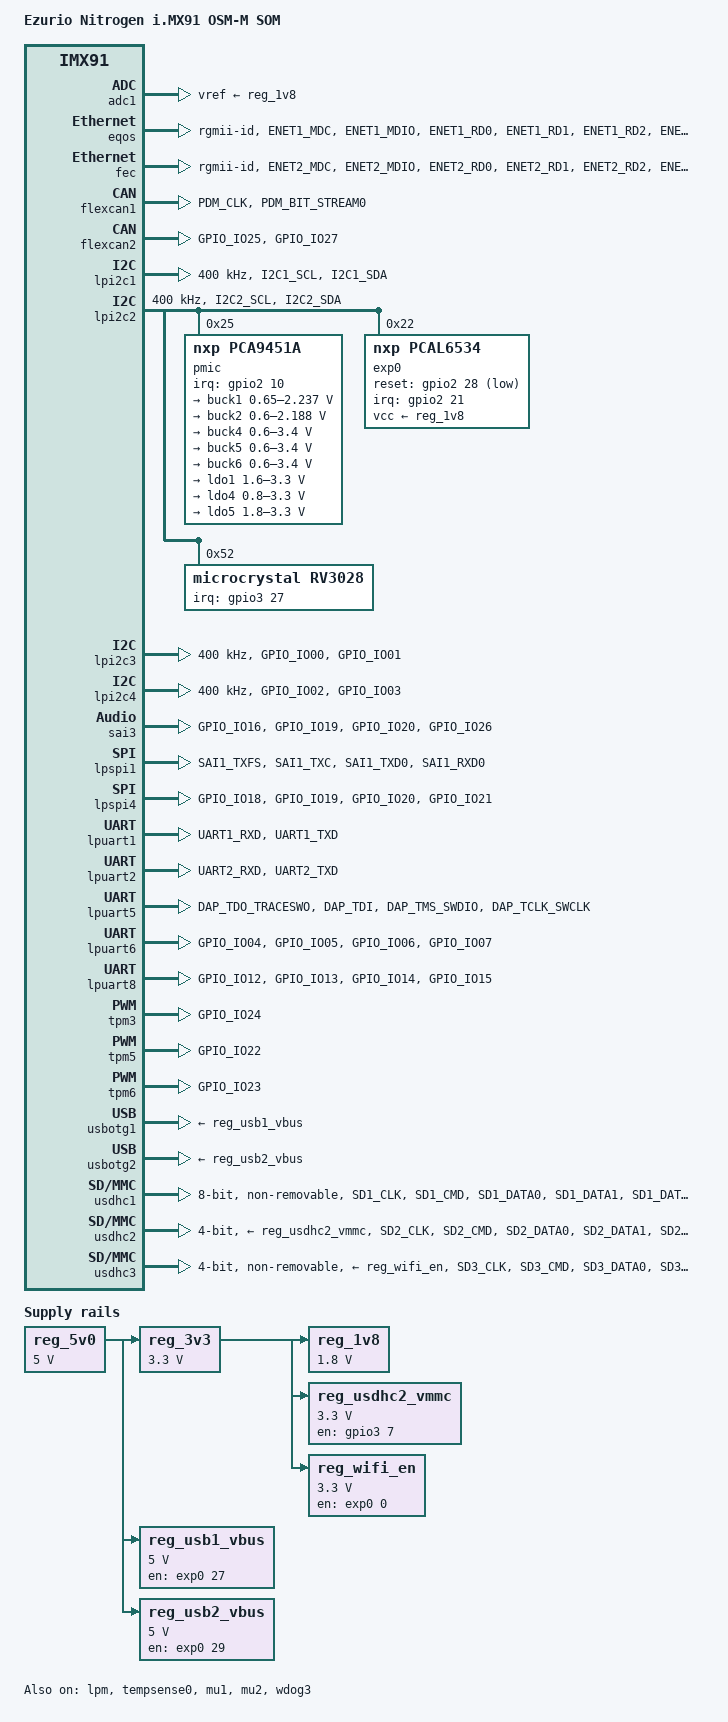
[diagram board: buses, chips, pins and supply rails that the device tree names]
// SPDX-License-Identifier: (GPL-2.0-or-later OR MIT)
/*
 * Nitrogen91 OSM-M SOM (Ezurio 750-00473 / 940-00189)
 *
 * Copyright 2026 Ezurio LLC
 *
 */

/dts-v1/;

#include <dt-bindings/gpio/gpio.h>
#include <dt-bindings/input/input.h>
#include <dt-bindings/interrupt-controller/irq.h>
#include <dt-bindings/leds/common.h>
#include <dt-bindings/usb/pd.h>

#include "imx91.dtsi"

/ {
	compatible = "summit,nitrogen-imx91-osm-m", "fsl,imx91";
	model = "Ezurio Nitrogen i.MX91 OSM-M SOM";

	aliases {
		mmc0 = &usdhc1;			/* eMMC */
		mmc1 = &usdhc2;			/* SDIO_A */
		mmc2 = &usdhc3;			/* On-SOM Wi-Fi */
		serial0 = &lpuart1;		/* UART_CON */
		serial1 = &lpuart2;		/* UART_C */
		serial2 = &lpuart5;		/* On-SOM BT HCI */
		serial3 = &lpuart6;		/* UART_A */
		serial4 = &lpuart8;		/* UART_B */
		ethernet0 = &eqos;		/* ETH_A */
		ethernet1 = &fec;		/* ETH_B */
		i2c0 = &lpi2c1;			/* I2C_A */
		i2c1 = &lpi2c2;			/* I2C_B (PMIC/RTC/GPIO-expander) */
		i2c2 = &lpi2c3;			/* I2C_C */
		i2c3 = &lpi2c4;			/* I2C_D (CSI) */
		spi0 = &lpspi1;			/* SPI_A */
		spi1 = &lpspi4;			/* SPI_B */
		can0 = &flexcan1;		/* CAN_A */
		can1 = &flexcan2;		/* CAN_B */
		usb0 = &usbotg1;		/* USB_A */
		usb1 = &usbotg2;		/* USB_B */
		gpio0 = &gpio1;
		gpio1 = &gpio2;
		gpio2 = &gpio3;
		gpio3 = &gpio4;
		gpio4 = &exp0;
		rtc0 = &rv3028;
		rtc1 = &bbnsm_rtc;
	};

	chosen {
		stdout-path = "serial0:115200n8";
	};

	reserved-memory {
		#address-cells = <2>;
		#size-cells = <2>;
		ranges;

		/* global cma region */
		linux_cma: linux,cma {
			compatible = "shared-dma-pool";
			reusable;
			alloc-ranges = <0 0x80000000 0 0x40000000>;
			size = <0 0x10000000>;
			linux,cma-default;
		};

		ele_reserved: ele-reserved@a4120000 {
			compatible = "shared-dma-pool";
			reg = <0 0xa4120000 0 0x100000>;
			no-map;
		};
	};

	reg_5v0: regulator-5v0 {
		compatible = "regulator-fixed";
		regulator-name = "reg_5v0";

		regulator-min-microvolt = <5000000>;
		regulator-max-microvolt = <5000000>;

		regulator-always-on;
		regulator-boot-on;
	};

	reg_3v3: regulator-3v3 {
		compatible = "regulator-fixed";
		regulator-name = "reg_3v3";

		vin-supply = <&reg_5v0>;
		regulator-min-microvolt = <3300000>;
		regulator-max-microvolt = <3300000>;

		regulator-always-on;
		regulator-boot-on;
	};

	reg_1v8: regulator-1v8 {
		compatible = "regulator-fixed";
		regulator-name = "reg_1v8";

		vin-supply = <&reg_3v3>;
		regulator-min-microvolt = <1800000>;
		regulator-max-microvolt = <1800000>;

		regulator-always-on;
		regulator-boot-on;
	};

	reg_usdhc2_vmmc: regulator-usdhc2-vmmc {
		compatible = "regulator-fixed";
		regulator-name = "reg_usdhc2_vmmc";
		regulator-min-microvolt = <3300000>;
		regulator-max-microvolt = <3300000>;
		vin-supply = <&reg_3v3>;

		pinctrl-names = "default";
		pinctrl-0 = <&pinctrl_reg_usdhc2_vmmc>;
		gpio = <&gpio3 7 GPIO_ACTIVE_HIGH>;	/* SD2_RESET_B -> SDIO_A_VMMC_EN */
		enable-active-high;

		off-on-delay-us = <12000>;
	};

	reg_usb1_vbus: regulator-usb1-vbus {
		compatible = "regulator-fixed";
		regulator-name = "reg_usb1_vbus";
		regulator-min-microvolt = <5000000>;
		regulator-max-microvolt = <5000000>;
		vin-supply = <&reg_5v0>;

		gpio = <&exp0 27 GPIO_ACTIVE_HIGH>;	/* USB_A_EN */
		enable-active-high;
	};

	reg_usb2_vbus: regulator-usb2-vbus {
		compatible = "regulator-fixed";
		regulator-name = "reg_usb2_vbus";
		regulator-min-microvolt = <5000000>;
		regulator-max-microvolt = <5000000>;
		vin-supply = <&reg_5v0>;

		gpio = <&exp0 29 GPIO_ACTIVE_HIGH>;	/* USB_B_EN */
		enable-active-high;
	};

	reg_wifi_en: regulator-wifi-en {
		compatible = "regulator-fixed";
		regulator-name = "reg_wifi_en";

		vin-supply = <&reg_3v3>;
		regulator-min-microvolt = <3300000>;
		regulator-max-microvolt = <3300000>;

		gpio = <&exp0 0 GPIO_ACTIVE_HIGH>;	/* WL_EN */
		enable-active-high;
	};

	wifi_wakeup: wifi-wakeup {
		compatible = "gpio-keys";

		status = "disabled";

		pinctrl-names = "default";
		pinctrl-0 = <&pinctrl_wifi_wakeup>;

		wifi-wake {
			label = "Wi-Fi Wake Up";
			linux,code = <KEY_WAKEUP>;
			wakeup-source;

			interrupts-extended = <&gpio2 9 IRQ_TYPE_EDGE_FALLING>;	/* GPIO_IO09 -> WIFI_SDIO_WAKE */
			interrupt-names = "irq";
		};

		bt-wake {
			label = "BT Wake Up";
			linux,code = <KEY_WAKEUP>;
			wakeup-source;

			interrupts-extended = <&gpio2 8 IRQ_TYPE_EDGE_FALLING>;	/* GPIO_IO08 -> BT_HOST_WAKE */
			interrupt-names = "irq";
		};
	};

	display-subsystem {
		status = "disabled";
	};
};

&adc1 {
	vref-supply = <&reg_1v8>;
};

&ele_fw2 {
	memory-region = <&ele_reserved>;
};

&eqos {
	/* ETH_A - SOM routes RGMII pads; carrier picks PHY/handle */
	pinctrl-names = "default", "sleep";
	pinctrl-0 = <&pinctrl_eqos>;
	pinctrl-1 = <&pinctrl_eqos_sleep>;

	phy-mode = "rgmii-id";

	mdio {
		compatible = "snps,dwmac-mdio";
		#address-cells = <1>;
		#size-cells = <0>;
	};
};

&fec {
	/* ETH_B - SOM routes RGMII pads; carrier picks PHY/handle */
	pinctrl-names = "default", "sleep";
	pinctrl-0 = <&pinctrl_fec>;
	pinctrl-1 = <&pinctrl_fec_sleep>;

	phy-mode = "rgmii-id";

	mdio {
		#address-cells = <1>;
		#size-cells = <0>;
	};
};

&flexcan1 {
	/* CAN_A - SOM routes pads; carrier adds transceiver supply */
	pinctrl-names = "default", "sleep";
	pinctrl-0 = <&pinctrl_flexcan1>;
	pinctrl-1 = <&pinctrl_flexcan1_sleep>;
};

&flexcan2 {
	/* CAN_B */
	pinctrl-names = "default", "sleep";
	pinctrl-0 = <&pinctrl_flexcan2>;
	pinctrl-1 = <&pinctrl_flexcan2_sleep>;
};

&lpi2c1 {
	/* I2C_A */
	pinctrl-names = "default";
	pinctrl-0 = <&pinctrl_lpi2c1>;

	clock-frequency = <400000>;

	#address-cells = <1>;
	#size-cells = <0>;
};

&lpi2c2 {
	/* I2C_B (PMIC, GPIO expander, RTC) */
	pinctrl-names = "default";
	pinctrl-0 = <&pinctrl_lpi2c2>;

	clock-frequency = <400000>;
	status = "okay";

	#address-cells = <1>;
	#size-cells = <0>;

	pmic@25 {
		compatible = "nxp,pca9451a";
		reg = <0x25>;

		pinctrl-names = "default";
		pinctrl-0 = <&pinctrl_pmic_irq>;
		interrupts-extended = <&gpio2 10 IRQ_TYPE_LEVEL_LOW>;	/* GPIO_IO10 -> PMIC_IRQ */

		regulators {
			buck1: BUCK1 {
				regulator-name = "BUCK1";
				regulator-min-microvolt = <650000>;
				regulator-max-microvolt = <2237500>;
				regulator-boot-on;
				regulator-always-on;
				regulator-ramp-delay = <3125>;
			};

			buck2: BUCK2 {
				regulator-name = "BUCK2";
				regulator-min-microvolt = <600000>;
				regulator-max-microvolt = <2187500>;
				regulator-boot-on;
				regulator-always-on;
				regulator-ramp-delay = <3125>;
			};

			buck4: BUCK4 {
				regulator-name = "BUCK4";
				regulator-min-microvolt = <600000>;
				regulator-max-microvolt = <3400000>;
				regulator-boot-on;
				regulator-always-on;
			};

			buck5: BUCK5 {
				regulator-name = "BUCK5";
				regulator-min-microvolt = <600000>;
				regulator-max-microvolt = <3400000>;
				regulator-boot-on;
				regulator-always-on;
			};

			buck6: BUCK6 {
				regulator-name = "BUCK6";
				regulator-min-microvolt = <600000>;
				regulator-max-microvolt = <3400000>;
				regulator-boot-on;
				regulator-always-on;
			};

			ldo1: LDO1 {
				regulator-name = "LDO1";
				regulator-min-microvolt = <1600000>;
				regulator-max-microvolt = <3300000>;
				regulator-boot-on;
				regulator-always-on;
			};

			ldo4: LDO4 {
				regulator-name = "LDO4";
				regulator-min-microvolt = <800000>;
				regulator-max-microvolt = <3300000>;
				regulator-boot-on;
				regulator-always-on;
			};

			ldo5: LDO5 {
				regulator-name = "LDO5";
				regulator-min-microvolt = <1800000>;
				regulator-max-microvolt = <3300000>;
				regulator-boot-on;
				regulator-always-on;
			};
		};
	};

	exp0: gpio@22 {
		compatible = "nxp,pcal6534";
		reg = <0x22>;

		pinctrl-names = "default";
		pinctrl-0 = <&pinctrl_exp0>;
		reset-gpios = <&gpio2 28 GPIO_ACTIVE_LOW>;	/* GPIO_IO28 -> I2C_GPIO_RESET */

		vcc-supply = <&reg_1v8>;

		gpio-controller;
		#gpio-cells = <2>;

		interrupt-controller;
		#interrupt-cells = <2>;
		interrupts-extended = <&gpio2 21 IRQ_TYPE_LEVEL_LOW>;	/* GPIO_IO21 -> I2C_GPIO_IRQ */

		gpio-line-names = "WL_EN", "GPIO_A_0",
				"BT_EN", "EMMC_RESET_N",
				"ETH_A_RST", "GPIO_A_5",
				"GPIO_B_0", "GPIO_B_1",
				"GPIO_A_6", "GPIO_D_1",
				"GPIO_D_2", "SDIO_A_WP",
				"GPIO_D_3", "GPIO_D_4",
				"GPIO_D_5", "GPIO_D_6",
				"GPIO_B_2", "GPIO_B_3",
				"GPIO_B_4", "GPIO_B_5",
				"LVDS_D_VDD_EN", "LVDS_D_BL_EN",
				"ETH_B_RST", "GPIO_C_2",
				"GPIO_C_3", "CAM_A_PWR",
				"CAM_A_RST", "USB_A_EN",
				"DSI_A_VDD_EN", "USB_B_EN",
				"DSI_A_BL_EN", "GPIO_D_0",
				"CARRIER_POWER_EN", "GPIO_V0_1";
	};

	rv3028: rtc@52 {
		compatible = "microcrystal,rv3028";
		reg = <0x52>;

		pinctrl-names = "default";
		pinctrl-0 = <&pinctrl_rtc>;
		interrupts-extended = <&gpio3 27 IRQ_TYPE_LEVEL_LOW>;	/* CCM_CLKO1 -> RTC_INT */
		interrupt-names = "irq";
		wakeup-source;

		#clock-cells = <0>;

		eeprom {
			compatible = "microcrystal,rv3028-eeprom";
			#address-cells = <1>;
			#size-cells = <1>;

			rtc_eeprom_eth_mac0: mac-address@0 {
				reg = <0x00 0x06>;
			};

			rtc_eeprom_eth_mac1: mac-address@6 {
				reg = <0x06 0x06>;
			};

			ram_type: ram-type@c {
				reg = <0x0c 0x02>;
			};

			radio_type: radio-type@e {
				reg = <0x0e 0x02>;
			};
		};
	};
};

&lpi2c3 {
	/* I2C_B / I2C_C */
	pinctrl-names = "default";
	pinctrl-0 = <&pinctrl_lpi2c3>;

	clock-frequency = <400000>;

	#address-cells = <1>;
	#size-cells = <0>;
};

&lpi2c4 {
	/* I2C_D (CSI) */
	pinctrl-names = "default";
	pinctrl-0 = <&pinctrl_lpi2c4>;

	clock-frequency = <400000>;

	#address-cells = <1>;
	#size-cells = <0>;
};

&lpm {
	soc-supply = <&buck1>;
	status = "okay";
};

&sai3 {
	/* I2S_A */
	pinctrl-names = "default";
	pinctrl-0 = <&pinctrl_sai3>;

	#sound-dai-cells = <0>;
};

&lpspi1 {
	/* SPI_A */
	pinctrl-names = "default", "sleep";
	pinctrl-0 = <&pinctrl_lpspi1>;
	pinctrl-1 = <&pinctrl_lpspi1>;

	fsl,spi-num-chipselects = <1>;
};

&lpspi4 {
	/* SPI_B (GPIO_IO18..21 pads) */
	pinctrl-names = "default", "sleep";
	pinctrl-0 = <&pinctrl_lpspi4>;
	pinctrl-1 = <&pinctrl_lpspi4>;

	fsl,spi-num-chipselects = <1>;
};

&lpuart1 {
	/* UART_CON */
	pinctrl-names = "default";
	pinctrl-0 = <&pinctrl_uart1>;
	status = "okay";
};

&lpuart2 {
	/* UART_C */
	pinctrl-names = "default";
	pinctrl-0 = <&pinctrl_uart2>;
};

&lpuart5 {
	/* On-SOM Wi-Fi/BT HCI UART */
	pinctrl-names = "default";
	pinctrl-0 = <&pinctrl_uart5>;
	uart-has-rtscts;
};

&lpuart6 {
	/* UART_A */
	pinctrl-names = "default";
	pinctrl-0 = <&pinctrl_uart6>;
	uart-has-rtscts;
};

&lpuart8 {
	/* UART_B */
	pinctrl-names = "default";
	pinctrl-0 = <&pinctrl_uart8>;
	uart-has-rtscts;
};

&tpm3 {
	/* PWM_2 / RGB_BL_PWM / LVDS_E_BL_PWM */
	pinctrl-names = "default";
	pinctrl-0 = <&pinctrl_tpm3>;
};

&tpm5 {
	/* PWM_0 / DSI_A_E_BL_PWM / LVDS_A_BL_PWM */
	pinctrl-names = "default";
	pinctrl-0 = <&pinctrl_tpm5>;
};

&tpm6 {
	/* PWM_1 / LVDS_D_BL_PWM */
	pinctrl-names = "default";
	pinctrl-0 = <&pinctrl_tpm6>;
};

&tempsense0 {
	status = "okay";
};

&mu1 {
	status = "okay";
};

&mu2 {
	status = "okay";
};

&usbotg1 {
	vbus-supply = <&reg_usb1_vbus>;
	samsung,picophy-pre-emp-curr-control = <3>;
	samsung,picophy-dc-vol-level-adjust = <7>;
};

&usbotg2 {
	vbus-supply = <&reg_usb2_vbus>;
	samsung,picophy-pre-emp-curr-control = <3>;
	samsung,picophy-dc-vol-level-adjust = <7>;
};

&usdhc1 {
	/* eMMC */
	pinctrl-names = "default", "state_100mhz", "state_200mhz";
	pinctrl-0 = <&pinctrl_usdhc1>;
	pinctrl-1 = <&pinctrl_usdhc1_100mhz>;
	pinctrl-2 = <&pinctrl_usdhc1_200mhz>;

	bus-width = <8>;
	non-removable;

	status = "okay";
};

&usdhc2 {
	/* SDIO_A */
	pinctrl-names = "default", "state_100mhz", "state_200mhz", "sleep";
	pinctrl-0 = <&pinctrl_usdhc2>;
	pinctrl-1 = <&pinctrl_usdhc2_100mhz>;
	pinctrl-2 = <&pinctrl_usdhc2_200mhz>;
	pinctrl-3 = <&pinctrl_usdhc2_sleep>;

	vmmc-supply = <&reg_usdhc2_vmmc>;

	bus-width = <4>;
	disable-wp;
};

&usdhc3 {
	/* Wi-Fi/BT */
	pinctrl-names = "default", "state_100mhz", "state_200mhz", "sleep";
	pinctrl-0 = <&pinctrl_usdhc3>;
	pinctrl-1 = <&pinctrl_usdhc3_100mhz>;
	pinctrl-2 = <&pinctrl_usdhc3_200mhz>;
	pinctrl-3 = <&pinctrl_usdhc3_sleep>;

	vmmc-supply = <&reg_wifi_en>;

	bus-width = <4>;
	non-removable;
	keep-power-in-suspend;
};

&wdog3 {
	status = "okay";
};

&iomuxc {
	/* ----- Ethernet (ETH_A / ENET1 RGMII) ----- */
	pinctrl_eqos: eqosgrp {
		fsl,pins = <
			MX91_PAD_ENET1_MDC__ENET1_MDC				0x57e
			MX91_PAD_ENET1_MDIO__ENET_QOS_MDIO			0x57e
			MX91_PAD_ENET1_RD0__ENET_QOS_RGMII_RD0			0x57e
			MX91_PAD_ENET1_RD1__ENET_QOS_RGMII_RD1			0x57e
			MX91_PAD_ENET1_RD2__ENET_QOS_RGMII_RD2			0x57e
			MX91_PAD_ENET1_RD3__ENET_QOS_RGMII_RD3			0x57e
			MX91_PAD_ENET1_RXC__ENET_QOS_RGMII_RXC			0x58e
			MX91_PAD_ENET1_RX_CTL__ENET_QOS_RGMII_RX_CTL		0x57e
			MX91_PAD_ENET1_TD0__ENET_QOS_RGMII_TD0			0x57e
			MX91_PAD_ENET1_TD1__ENET1_RGMII_TD1			0x57e
			MX91_PAD_ENET1_TD2__ENET_QOS_RGMII_TD2			0x57e
			MX91_PAD_ENET1_TD3__ENET_QOS_RGMII_TD3			0x57e
			MX91_PAD_ENET1_TXC__CCM_ENET_QOS_CLOCK_GENERATE_TX_CLK	0x58e
			MX91_PAD_ENET1_TX_CTL__ENET_QOS_RGMII_TX_CTL		0x57e
		>;
	};

	pinctrl_eqos_sleep: eqosgrpsleep {
		fsl,pins = <
			MX91_PAD_ENET1_MDC__GPIO4_IO0				0x31e
			MX91_PAD_ENET1_MDIO__GPIO4_IO1				0x31e
			MX91_PAD_ENET1_RD0__GPIO4_IO10				0x31e
			MX91_PAD_ENET1_RD1__GPIO4_IO11				0x31e
			MX91_PAD_ENET1_RD2__GPIO4_IO12				0x31e
			MX91_PAD_ENET1_RD3__GPIO4_IO13				0x31e
			MX91_PAD_ENET1_RXC__GPIO4_IO9				0x31e
			MX91_PAD_ENET1_RX_CTL__GPIO4_IO8			0x31e
			MX91_PAD_ENET1_TD0__GPIO4_IO5				0x31e
			MX91_PAD_ENET1_TD1__GPIO4_IO4				0x31e
			MX91_PAD_ENET1_TD2__GPIO4_IO3				0x31e
			MX91_PAD_ENET1_TD3__GPIO4_IO2				0x31e
			MX91_PAD_ENET1_TXC__GPIO4_IO7				0x31e
			MX91_PAD_ENET1_TX_CTL__GPIO4_IO6			0x31e
		>;
	};

	/* ----- Ethernet (ETH_B / ENET2 RGMII) ----- */
	pinctrl_fec: fecgrp {
		fsl,pins = <
			MX91_PAD_ENET2_MDC__ENET2_MDC				0x57e
			MX91_PAD_ENET2_MDIO__ENET2_MDIO				0x57e
			MX91_PAD_ENET2_RD0__ENET2_RGMII_RD0			0x57e
			MX91_PAD_ENET2_RD1__ENET2_RGMII_RD1			0x57e
			MX91_PAD_ENET2_RD2__ENET2_RGMII_RD2			0x57e
			MX91_PAD_ENET2_RD3__ENET2_RGMII_RD3			0x57e
			MX91_PAD_ENET2_RXC__ENET2_RGMII_RXC			0x58e
			MX91_PAD_ENET2_RX_CTL__ENET2_RGMII_RX_CTL		0x57e
			MX91_PAD_ENET2_TD0__ENET2_RGMII_TD0			0x57e
			MX91_PAD_ENET2_TD1__ENET2_RGMII_TD1			0x57e
			MX91_PAD_ENET2_TD2__ENET2_RGMII_TD2			0x57e
			MX91_PAD_ENET2_TD3__ENET2_RGMII_TD3			0x57e
			MX91_PAD_ENET2_TXC__ENET2_RGMII_TXC			0x58e
			MX91_PAD_ENET2_TX_CTL__ENET2_RGMII_TX_CTL		0x57e
		>;
	};

	pinctrl_fec_sleep: fecsleepgrp {
		fsl,pins = <
			MX91_PAD_ENET2_MDC__GPIO4_IO14				0x51e
			MX91_PAD_ENET2_MDIO__GPIO4_IO15				0x51e
			MX91_PAD_ENET2_RD0__GPIO4_IO24				0x51e
			MX91_PAD_ENET2_RD1__GPIO4_IO25				0x51e
			MX91_PAD_ENET2_RD2__GPIO4_IO26				0x51e
			MX91_PAD_ENET2_RD3__GPIO4_IO27				0x51e
			MX91_PAD_ENET2_RXC__GPIO4_IO23				0x51e
			MX91_PAD_ENET2_RX_CTL__GPIO4_IO22			0x51e
			MX91_PAD_ENET2_TD0__GPIO4_IO19				0x51e
			MX91_PAD_ENET2_TD1__GPIO4_IO18				0x51e
			MX91_PAD_ENET2_TD2__GPIO4_IO17				0x51e
			MX91_PAD_ENET2_TD3__GPIO4_IO16				0x51e
			MX91_PAD_ENET2_TXC__GPIO4_IO21				0x51e
			MX91_PAD_ENET2_TX_CTL__GPIO4_IO20			0x51e
		>;
	};

	/* ----- I2C ----- */
	pinctrl_lpi2c1: lpi2c1grp { /* I2C_A */
		fsl,pins = <
			MX91_PAD_I2C1_SCL__LPI2C1_SCL				0x40000b9e
			MX91_PAD_I2C1_SDA__LPI2C1_SDA				0x40000b9e
		>;
	};

	pinctrl_lpi2c2: lpi2c2grp {	/* I2C (INTERNAL) */
		fsl,pins = <
			MX91_PAD_I2C2_SCL__LPI2C2_SCL				0x40000b9e
			MX91_PAD_I2C2_SDA__LPI2C2_SDA				0x40000b9e
		>;
	};

	pinctrl_lpi2c3: lpi2c3grp {	/* I2C_B */
		fsl,pins = <
			MX91_PAD_GPIO_IO00__LPI2C3_SDA				0x40000b9e
			MX91_PAD_GPIO_IO01__LPI2C3_SCL				0x40000b9e
		>;
	};

	pinctrl_lpi2c4: lpi2c4grp {	/* I2C_D (CSI) */
		fsl,pins = <
			MX91_PAD_GPIO_IO02__LPI2C4_SDA				0x40000b9e
			MX91_PAD_GPIO_IO03__LPI2C4_SCL				0x40000b9e
		>;
	};

	/* ----- On-SOM control signals ----- */
	pinctrl_exp0: exp0grp {
		fsl,pins = <
			MX91_PAD_GPIO_IO28__GPIO2_IO28				0x31e	/* I2C_GPIO_RESET */
			MX91_PAD_GPIO_IO21__GPIO2_IO21				0x131e	/* I2C_GPIO_IRQ */
		>;
	};

	pinctrl_pmic_irq: pmicirqgrp {
		fsl,pins = <
			MX91_PAD_GPIO_IO10__GPIO2_IO10				0x131e	/* PMIC_IRQ */
		>;
	};

	pinctrl_rtc: rtcgrp {
		fsl,pins = <
			MX91_PAD_CCM_CLKO2__GPIO3_IO27				0x131e	/* RTC_INT */
		>;
	};

	pinctrl_wifi_wakeup: wifiwakeupgrp {
		fsl,pins = <
			MX91_PAD_GPIO_IO08__GPIO2_IO8				0x131e	/* BT_WAKE */
			MX91_PAD_GPIO_IO09__GPIO2_IO9				0x131e	/* WIFI_WAKE */
		>;
	};

	/* ----- CAN ----- */
	pinctrl_flexcan1: flexcan1grp {	/* CAN_A */
		fsl,pins = <
			MX91_PAD_PDM_CLK__CAN1_TX				0x139e
			MX91_PAD_PDM_BIT_STREAM0__CAN1_RX			0x139e
		>;
	};

	pinctrl_flexcan1_sleep: flexcan1sleepgrp {
		fsl,pins = <
			MX91_PAD_PDM_CLK__GPIO1_IO8				0x31e
			MX91_PAD_PDM_BIT_STREAM0__GPIO1_IO9			0x31e
		>;
	};

	pinctrl_flexcan2: flexcan2grp {	/* CAN_B */
		fsl,pins = <
			MX91_PAD_GPIO_IO25__CAN2_TX				0x139e
			MX91_PAD_GPIO_IO27__CAN2_RX				0x139e
		>;
	};

	pinctrl_flexcan2_sleep: flexcan2sleepgrp {
		fsl,pins = <
			MX91_PAD_GPIO_IO25__GPIO2_IO25				0x31e
			MX91_PAD_GPIO_IO27__GPIO2_IO27				0x31e
		>;
	};

	/* ----- SPI ----- */
	pinctrl_lpspi1: lpspi1grp {	/* SPI_A (SAI1 pads) */
		fsl,pins = <
			MX91_PAD_SAI1_TXFS__LPSPI1_PCS0				0x3fe
			MX91_PAD_SAI1_TXC__LPSPI1_SIN				0x3fe
			MX91_PAD_SAI1_TXD0__LPSPI1_SCK				0x3fe
			MX91_PAD_SAI1_RXD0__LPSPI1_SOUT				0x3fe
		>;
	};

	pinctrl_sai3: sai3grp {	/* I2S_A */
		fsl,pins = <
			MX91_PAD_GPIO_IO16__SAI3_TX_BCLK			0x31e
			MX91_PAD_GPIO_IO19__SAI3_TX_DATA0			0x31e
			MX91_PAD_GPIO_IO20__SAI3_RX_DATA0			0x31e
			MX91_PAD_GPIO_IO26__SAI3_TX_SYNC			0x31e
		>;
	};

	pinctrl_sai3_mclk: sai3mclkgrp {	/* I2S_A */
		fsl,pins = <
			MX91_PAD_GPIO_IO17__SAI3_MCLK				0x31e
		>;
	};

	pinctrl_lpspi4: lpspi4grp {	/* SPI_B (GPIO_IO18..21 pads) */
		fsl,pins = <
			MX91_PAD_GPIO_IO18__LPSPI4_PCS0				0x3fe
			MX91_PAD_GPIO_IO19__LPSPI4_SIN				0x3fe
			MX91_PAD_GPIO_IO20__LPSPI4_SOUT				0x3fe
			MX91_PAD_GPIO_IO21__LPSPI4_SCK				0x3fe
		>;
	};

	/* ----- UARTs ----- */
	pinctrl_uart1: uart1grp {	/* UART_CON */
		fsl,pins = <
			MX91_PAD_UART1_RXD__LPUART1_RX				0x131e
			MX91_PAD_UART1_TXD__LPUART1_TX				0x31e
		>;
	};

	pinctrl_uart2: uart2grp {	/* UART_C */
		fsl,pins = <
			MX91_PAD_UART2_RXD__LPUART2_RX				0x131e
			MX91_PAD_UART2_TXD__LPUART2_TX				0x31e
		>;
	};

	pinctrl_uart5: uart5grp {	/* WiFi/BT HCI on DAP/JTAG pads */
		fsl,pins = <
			MX91_PAD_DAP_TDO_TRACESWO__LPUART5_TX			0x31e
			MX91_PAD_DAP_TDI__LPUART5_RX				0x131e
			MX91_PAD_DAP_TMS_SWDIO__LPUART5_RTS_B			0x131e
			MX91_PAD_DAP_TCLK_SWCLK__LPUART5_CTS_B			0x131e
		>;
	};

	pinctrl_uart6: uart6grp {	/* UART_A */
		fsl,pins = <
			MX91_PAD_GPIO_IO04__LPUART6_TX				0x31e
			MX91_PAD_GPIO_IO05__LPUART6_RX				0x131e
			MX91_PAD_GPIO_IO06__LPUART6_CTS_B			0x131e
			MX91_PAD_GPIO_IO07__LPUART6_RTS_B			0x131e
		>;
	};

	pinctrl_uart8: uart8grp {	/* UART_B */
		fsl,pins = <
			MX91_PAD_GPIO_IO12__LPUART8_TX				0x31e
			MX91_PAD_GPIO_IO13__LPUART8_RX				0x131e
			MX91_PAD_GPIO_IO14__LPUART8_CTS_B			0x131e
			MX91_PAD_GPIO_IO15__LPUART8_RTS_B			0x131e
		>;
	};

	/* ----- USDHC1 (eMMC) ----- */
	pinctrl_usdhc1: usdhc1grp {
		fsl,pins = <
			MX91_PAD_SD1_CLK__USDHC1_CLK		0x1582
			MX91_PAD_SD1_CMD__USDHC1_CMD		0x1382
			MX91_PAD_SD1_DATA0__USDHC1_DATA0	0x1382
			MX91_PAD_SD1_DATA1__USDHC1_DATA1	0x1382
			MX91_PAD_SD1_DATA2__USDHC1_DATA2	0x1382
			MX91_PAD_SD1_DATA3__USDHC1_DATA3	0x1382
			MX91_PAD_SD1_DATA4__USDHC1_DATA4	0x1382
			MX91_PAD_SD1_DATA5__USDHC1_DATA5	0x1382
			MX91_PAD_SD1_DATA6__USDHC1_DATA6	0x1382
			MX91_PAD_SD1_DATA7__USDHC1_DATA7	0x1382
			MX91_PAD_SD1_STROBE__USDHC1_STROBE	0x1582
		>;
	};

	pinctrl_usdhc1_100mhz: usdhc1-100mhzgrp {
		fsl,pins = <
			MX91_PAD_SD1_CLK__USDHC1_CLK		0x158e
			MX91_PAD_SD1_CMD__USDHC1_CMD		0x138e
			MX91_PAD_SD1_DATA0__USDHC1_DATA0	0x138e
			MX91_PAD_SD1_DATA1__USDHC1_DATA1	0x138e
			MX91_PAD_SD1_DATA2__USDHC1_DATA2	0x138e
			MX91_PAD_SD1_DATA3__USDHC1_DATA3	0x138e
			MX91_PAD_SD1_DATA4__USDHC1_DATA4	0x138e
			MX91_PAD_SD1_DATA5__USDHC1_DATA5	0x138e
			MX91_PAD_SD1_DATA6__USDHC1_DATA6	0x138e
			MX91_PAD_SD1_DATA7__USDHC1_DATA7	0x138e
			MX91_PAD_SD1_STROBE__USDHC1_STROBE	0x158e
		>;
	};

	pinctrl_usdhc1_200mhz: usdhc1-200mhzgrp {
		fsl,pins = <
			MX91_PAD_SD1_CLK__USDHC1_CLK		0x15fe
			MX91_PAD_SD1_CMD__USDHC1_CMD		0x13fe
			MX91_PAD_SD1_DATA0__USDHC1_DATA0	0x13fe
			MX91_PAD_SD1_DATA1__USDHC1_DATA1	0x13fe
			MX91_PAD_SD1_DATA2__USDHC1_DATA2	0x13fe
			MX91_PAD_SD1_DATA3__USDHC1_DATA3	0x13fe
			MX91_PAD_SD1_DATA4__USDHC1_DATA4	0x13fe
			MX91_PAD_SD1_DATA5__USDHC1_DATA5	0x13fe
			MX91_PAD_SD1_DATA6__USDHC1_DATA6	0x13fe
			MX91_PAD_SD1_DATA7__USDHC1_DATA7	0x13fe
			MX91_PAD_SD1_STROBE__USDHC1_STROBE	0x15fe
		>;
	};

	/* ----- USDHC2 (SDIO_A) ----- */
	pinctrl_reg_usdhc2_vmmc: regusdhc2vmmcgrp {
		fsl,pins = <
			MX91_PAD_SD2_RESET_B__GPIO3_IO7		0x31e
		>;
	};

	pinctrl_usdhc2_gpio: usdhc2gpiogrp {
		fsl,pins = <
			MX91_PAD_SD2_CD_B__GPIO3_IO0		0x31e
			MX91_PAD_SD2_VSELECT__USDHC2_VSELECT	0x51e
		>;
	};

	pinctrl_usdhc2_gpio_sleep: usdhc2gpiosleepgrp {
		fsl,pins = <
			MX91_PAD_SD2_CD_B__GPIO3_IO0		0x51e
			MX91_PAD_SD2_VSELECT__USDHC2_VSELECT	0x51e
		>;
	};

	pinctrl_usdhc2: usdhc2grp {
		fsl,pins = <
			MX91_PAD_SD2_CLK__USDHC2_CLK		0x1582
			MX91_PAD_SD2_CMD__USDHC2_CMD		0x1382
			MX91_PAD_SD2_DATA0__USDHC2_DATA0	0x1382
			MX91_PAD_SD2_DATA1__USDHC2_DATA1	0x1382
			MX91_PAD_SD2_DATA2__USDHC2_DATA2	0x1382
			MX91_PAD_SD2_DATA3__USDHC2_DATA3	0x1382
		>;
	};

	pinctrl_usdhc2_100mhz: usdhc2-100mhzgrp {
		fsl,pins = <
			MX91_PAD_SD2_CLK__USDHC2_CLK		0x158e
			MX91_PAD_SD2_CMD__USDHC2_CMD		0x138e
			MX91_PAD_SD2_DATA0__USDHC2_DATA0	0x138e
			MX91_PAD_SD2_DATA1__USDHC2_DATA1	0x138e
			MX91_PAD_SD2_DATA2__USDHC2_DATA2	0x138e
			MX91_PAD_SD2_DATA3__USDHC2_DATA3	0x138e
		>;
	};

	pinctrl_usdhc2_200mhz: usdhc2-200mhzgrp {
		fsl,pins = <
			MX91_PAD_SD2_CLK__USDHC2_CLK		0x15fe
			MX91_PAD_SD2_CMD__USDHC2_CMD		0x13fe
			MX91_PAD_SD2_DATA0__USDHC2_DATA0	0x13fe
			MX91_PAD_SD2_DATA1__USDHC2_DATA1	0x13fe
			MX91_PAD_SD2_DATA2__USDHC2_DATA2	0x13fe
			MX91_PAD_SD2_DATA3__USDHC2_DATA3	0x13fe
		>;
	};

	pinctrl_usdhc2_sleep: usdhc2sleepgrp {
		fsl,pins = <
			MX91_PAD_SD2_CLK__GPIO3_IO1		0x51e
			MX91_PAD_SD2_CMD__GPIO3_IO2		0x51e
			MX91_PAD_SD2_DATA0__GPIO3_IO3		0x51e
			MX91_PAD_SD2_DATA1__GPIO3_IO4		0x51e
			MX91_PAD_SD2_DATA2__GPIO3_IO5		0x51e
			MX91_PAD_SD2_DATA3__GPIO3_IO6		0x51e
		>;
	};

	/* ----- USDHC3 (On-SOM Wi-Fi) ----- */
	pinctrl_usdhc3: usdhc3grp {
		fsl,pins = <
			MX91_PAD_SD3_CLK__USDHC3_CLK		0x1582
			MX91_PAD_SD3_CMD__USDHC3_CMD		0x1382
			MX91_PAD_SD3_DATA0__USDHC3_DATA0	0x1382
			MX91_PAD_SD3_DATA1__USDHC3_DATA1	0x1382
			MX91_PAD_SD3_DATA2__USDHC3_DATA2	0x1382
			MX91_PAD_SD3_DATA3__USDHC3_DATA3	0x1382
		>;
	};

	pinctrl_usdhc3_100mhz: usdhc3-100mhzgrp {
		fsl,pins = <
			MX91_PAD_SD3_CLK__USDHC3_CLK		0x158e
			MX91_PAD_SD3_CMD__USDHC3_CMD		0x138e
			MX91_PAD_SD3_DATA0__USDHC3_DATA0	0x138e
			MX91_PAD_SD3_DATA1__USDHC3_DATA1	0x138e
			MX91_PAD_SD3_DATA2__USDHC3_DATA2	0x138e
			MX91_PAD_SD3_DATA3__USDHC3_DATA3	0x138e
		>;
	};

	pinctrl_usdhc3_200mhz: usdhc3-200mhzgrp {
		fsl,pins = <
			MX91_PAD_SD3_CLK__USDHC3_CLK		0x15fe
			MX91_PAD_SD3_CMD__USDHC3_CMD		0x13fe
			MX91_PAD_SD3_DATA0__USDHC3_DATA0	0x13fe
			MX91_PAD_SD3_DATA1__USDHC3_DATA1	0x13fe
			MX91_PAD_SD3_DATA2__USDHC3_DATA2	0x13fe
			MX91_PAD_SD3_DATA3__USDHC3_DATA3	0x13fe
		>;
	};

	pinctrl_usdhc3_sleep: usdhc3grpsleep {
		fsl,pins = <
			MX91_PAD_SD3_CLK__GPIO3_IO20		0x31e
			MX91_PAD_SD3_CMD__GPIO3_IO21		0x31e
			MX91_PAD_SD3_DATA0__GPIO3_IO22		0x31e
			MX91_PAD_SD3_DATA1__GPIO3_IO23		0x31e
			MX91_PAD_SD3_DATA2__GPIO3_IO24		0x31e
			MX91_PAD_SD3_DATA3__GPIO3_IO25		0x31e
		>;
	};

	/* ----- WDOG ----- */
	pinctrl_wdog: wdoggrp {
		fsl,pins = <
			MX91_PAD_WDOG_ANY__WDOG1_WDOG_ANY		0xc6
		>;
	};

	/* ----- PWM ----- */
	pinctrl_tpm3: pinctrl-tpm3grp {
		fsl,pins = <
			MX91_PAD_GPIO_IO24__TPM3_CH3		0x02	/* PWM_2 */
		>;
	};

	pinctrl_tpm5: pinctrl-tpm5grp {
		fsl,pins = <
			MX91_PAD_GPIO_IO22__TPM5_CH1		0x02	/* PWM_0 */
		>;
	};

	pinctrl_tpm6: pinctrl-tpm6grp {
		fsl,pins = <
			MX91_PAD_GPIO_IO23__TPM6_CH1		0x02	/* PWM_1 */
		>;
	};

	/* ----- USB ----- */
	pinctrl_usbotg1_oc: usbotg1-oc-grp {
		fsl,pins = <
			MX91_PAD_CCM_CLKO3__GPIO4_IO28		0x131e	/* USB1_OC */
		>;
	};

	pinctrl_usbotg2_oc: usbotg2-oc-grp {
		fsl,pins = <
			MX91_PAD_GPIO_IO28__GPIO2_IO28		0x131e	/* USB2_OC */
		>;
	};

	/* ----- Per-OSM-signal pinctrl groups (carrier overrides as needed) ----- */
	pinctrl_osm_gpio_a_2: osm-gpio-a-2-grp {
		fsl,pins = <
			MX91_PAD_GPIO_IO29__GPIO2_IO29				0x131e	/* GPIO_A_2 */
		>;
	};

	pinctrl_osm_gpio_a_3: osm-gpio-a-3-grp {
		fsl,pins = <
			MX91_PAD_GPIO_IO11__GPIO2_IO11				0x131e	/* GPIO_A_3 */
		>;
	};

	pinctrl_osm_gpio_a_7: osm-gpio-a-7-grp {
		fsl,pins = <
			MX91_PAD_PDM_BIT_STREAM1__GPIO1_IO10			0x131e	/* GPIO_A_7 */
		>;
	};

	pinctrl_osm_gpio_c_1: osm-gpio-c-1-grp {
		fsl,pins = <
			MX91_PAD_CCM_CLKO4__GPIO4_IO29				0x131e	/* GPIO_C_1 */
		>;
	};
};
